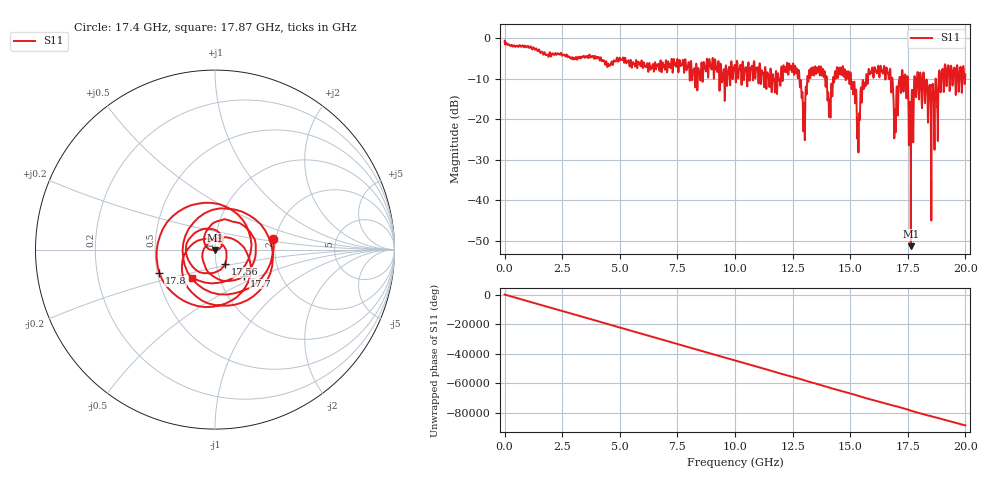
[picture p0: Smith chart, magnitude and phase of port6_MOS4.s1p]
! MS46122B
! 2250307/22442219
! 6/15/2025 8:18:36 AM
! C:\USERS\SPARKY\DOCUMENTS\VNA_DATA\JUNE15_2025\3.2K\PORT6_MOS4.S1P
! CHANNEL.1
! TR.MEASUREMENT
! RAW.DATA
# GHZ S RI R 50.0
! FREQ.GHZ  S11RE  S11IM
!; PortSelection: Port_1
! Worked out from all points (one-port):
!   10001 points, 1 MHz to 20 GHz, reference 50 ohm
!   lowest |S11| = -51.3 dB at 17.63 GHz (marker M1), VSWR 1.01, Z = 50 - j0.271 ohm
!   |S11| at or under -10 dB: 12.8 GHz to 13.14 GHz (340.4 MHz wide, 2.63 % of centre); 15.03 GHz to 15.69 GHz (654.8 MHz wide, 4.26 % of centre); 18.21 GHz to 18.84 GHz (628.6 MHz wide, 3.39 % of centre) (the widest 3 of 61)
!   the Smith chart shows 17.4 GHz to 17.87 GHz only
!   S11 on the Smith chart (normalised r, x): 17.4 GHz: 1.94, +0.26; 17.56 GHz: 1.11, -0.18; 17.7 GHz: 1.31, -0.40; 17.8 GHz: 0.51, -0.15; 17.87 GHz: 0.74, -0.24
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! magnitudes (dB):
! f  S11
! 1 MHz  -0.9
! 2.501 GHz  -4.4
! 5.001 GHz  -4.9
! 7.501 GHz  -5.2
! 10 GHz  -6.9
! 12.5 GHz  -6.9
! 12.97 GHz  -20.8
! 13.39 GHz  -7.2
! 13.81 GHz  -7.6
! 14.09 GHz  -17.9
! 14.43 GHz  -7.2
! 15 GHz  -8.8
! 15.35 GHz  -26.2
! 15.88 GHz  -8.6
! 16.66 GHz  -9.3
! 16.98 GHz  -22.8
! 17.19 GHz  -12.4
! 17.4 GHz  -9.6
! 17.5 GHz  -9.9
! 17.56 GHz  -20.2
! 17.63 GHz  -51.3
! 17.7 GHz  -13.3
! 17.8 GHz  -9.5
! 17.87 GHz  -13.9
! 18.25 GHz  -16.0
! 18.58 GHz  -11.4
! 18.93 GHz  -12.8
! 20 GHz  -9.0
